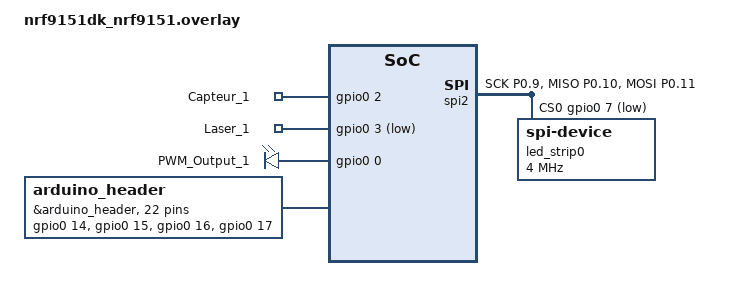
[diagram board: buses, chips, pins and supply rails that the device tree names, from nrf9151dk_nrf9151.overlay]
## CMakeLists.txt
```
cmake_minimum_required(VERSION 3.20.0)
find_package(Zephyr REQUIRED HINTS $ENV{ZEPHYR_BASE})

project(Programme_Capteur)

target_sources(app PRIVATE src/main.c)
```

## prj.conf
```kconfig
CONFIG_GPIO=y
CONFIG_GPIO_ENABLE_DISABLE_INTERRUPT=y

CONFIG_SPI=y
CONFIG_SPI_BITBANG=y


CONFIG_PWM=y

CONFIG_LOG=y
CONFIG_LOG_DEFAULT_LEVEL=3
CONFIG_LOG_PROCESS_THREAD_STACK_SIZE=4096
CONFIG_LOG_PROCESS_THREAD=y

CONFIG_USE_SEGGER_RTT=n
CONFIG_LOG_BACKEND_RTT=n
CONFIG_RTT_CONSOLE=y
CONFIG_CONSOLE=y
CONFIG_UART_CONSOLE=y
CONFIG_LOG_BACKEND_UART=y
```

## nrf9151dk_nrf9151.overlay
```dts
// To get started, press Ctrl+Space to bring up the completion menu and view the available nodes.

// You can also use the buttons in the sidebar to perform actions on nodes.
// Actions currently available include:

// * Enabling / disabling the node
// * Adding the bus to a bus
// * Removing the node
// * Connecting ADC channels

// For more help, browse the DeviceTree documentation at https://docs.zephyrproject.org/latest/guides/dts/index.html
// You can also visit the nRF DeviceTree extension documentation at https://docs.nordicsemi.com/bundle/nrf-connect-vscode/page/guides/ncs_configure_app.html#devicetree-support-in-the-extension

#include <zephyr/dt-bindings/led/led.h>


/{

    //added code//

    capteurs {
        compatible = "gpio-keys";

        capteur0: capteur_0 {
            
            gpios = <&gpio0 2 (GPIO_PULL_DOWN | GPIO_ACTIVE_HIGH)>;
            label = "Capteur_1";
        }; 
        status = "okay";

    };

    emetteurLaser {
        compatible = "gpio-keys";

        laser0: laser_0 {
            
            gpios = <&gpio0 3 GPIO_ACTIVE_LOW>;
            label = "Laser_1";
        }; 
        status = "okay";
    };
    

    // led_strip0: led_strip0 {
        
    //     compatible = "zephyr,spi-bitbang";
	// 	status="okay";
	// 	#address-cells = <1>;
	// 	#size-cells = <0>;
	// 	clk-gpios = <&gpio0 9 GPIO_ACTIVE_HIGH>;
	// 	mosi-gpios = <&gpio0 11 GPIO_ACTIVE_HIGH>;
	// 	miso-gpios = <&gpio0 10 GPIO_ACTIVE_HIGH>;
	// 	cs-gpios = <&gpio0 7 GPIO_ACTIVE_LOW>;
    // };


    pwmOutput{
        compatible = "gpio-leds";

        pwm_out0: pwm_output_0 {

        gpios = <&gpio0 0 GPIO_ACTIVE_HIGH>;
        label = "PWM_Output_1";

        };
        status = "okay";
        
    };

};

&spi2 {

    status = "okay";
    compatible = "nordic,nrf-spim";

    cs-gpios = <&gpio0 7 GPIO_ACTIVE_LOW>;
    pinctrl-0 = <&spi2_default>;
    pinctrl-1 = <&spi2_sleep>;
    pinctrl-names = "default","sleep";

    led_strip0: led_strip0@0 {
        compatible = "spi-device";

        status="okay";
        #address-cells = <1>;
        #size-cells = <0>;
        reg = <0>;
        spi-max-frequency = <4000000>;

    };


};

&pinctrl {

    spi2_default: spi2_default {
        group1 {
			psels = <NRF_PSEL(SPIM_SCK, 0, 9)>, <NRF_PSEL(SPIM_MISO, 0, 10)>;
			nordic,drive-mode = <NRF_DRIVE_H0H1>;
		};

        group2 {
            psels = <NRF_PSEL(SPIM_MOSI, 0, 11)>;
            nordic,drive-mode = <NRF_DRIVE_H0H1>;
            bias-pull-down;
        };
    };


    spi2_sleep: spi2_sleep {
        group1 {
            psels = <NRF_PSEL(SPIM_SCK, 0, 9)>,
                <NRF_PSEL(SPIM_MISO, 0, 10)>,
                <NRF_PSEL(SPIM_MOSI, 0, 11)>;
            low-power-enable;
        };
    };
};


&arduino_header {
    gpio-map = <0 0 &gpio0 14 0>,
               <1 0 &gpio0 15 0>,
               <2 0 &gpio0 16 0>,
               <3 0 &gpio0 17 0>,
               <4 0 &gpio0 18 0>,
               <5 0 &gpio0 19 0>,
               <6 0 &gpio0 0 0>,
               <7 0 &gpio0 1 0>,
               <8 0 &gpio0 2 0>,
               <9 0 &gpio0 3 0>,
               <10 0 &gpio0 4 0>,
               <11 0 &gpio0 5 0>,
               <12 0 &gpio0 6 0>,
               <13 0 &gpio0 7 0>,
               <14 0 &gpio0 8 0>,
               <15 0 &gpio0 9 0>,
               <16 0 &gpio0 10 0>,
               <17 0 &gpio0 11 0>,
               <18 0 &gpio0 12 0>,
               <19 0 &gpio0 13 0>,
               <20 0 &gpio0 30 0>,
               <21 0 &gpio0 31 0>;
};


&pwm_led0 {
    pwms = <&pwm0 0 10000000 PWM_POLARITY_NORMAL>;
};
```

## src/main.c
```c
#include <zephyr/kernel.h>
#include <zephyr/devicetree.h>
#include <zephyr/drivers/gpio.h>
#include <zephyr/drivers/led.h>
#include <zephyr/drivers/pwm.h>
#include <zephyr/drivers/spi.h>

#include <zephyr/logging/log.h>

#include "../../Lib/NEC/NEC.h"

// ---

//Node Definition From Devicetree
#define PWM_NODE DT_NODELABEL(pwm_led0) 
#define LED1_NODE DT_ALIAS(led1)
#define LED2_NODE DT_ALIAS(led2)
#define LED3_NODE DT_ALIAS(led3)

#define PWM0_OUT_NODE DT_NODELABEL(pwm_out0)

#define IR_REICV_NODE DT_NODELABEL(capteur0)
#define LASER_EMIT_NODE DT_NODELABEL(laser0)

#define SW2_NODE DT_ALIAS(sw3)

//SPI ports: SCK:13 MISO:12 MOSI:11
#define STRIP_NODE DT_NODELABEL(spi2)

// ---

//local const
#define REICV_STACK_SIZE 1024
#define EMIT_STACK_SIZE 1024

// ---

//initialize logger
LOG_MODULE_REGISTER(main, LOG_LEVEL_DBG);

// ---

    //initialize workqueues
    struct k_work_q reicv_work_q;
    struct k_work_q emit_work_q;
    K_THREAD_STACK_DEFINE(reicv_stack_area, REICV_STACK_SIZE);
    K_THREAD_STACK_DEFINE(emit_stack_area, EMIT_STACK_SIZE);

//---

//GPIO configurations from devicetree NODE
static const struct pwm_dt_spec irmitterPWM_dt = PWM_DT_SPEC_GET(PWM_NODE); 
static const struct gpio_dt_spec led1 = GPIO_DT_SPEC_GET(LED1_NODE, gpios);
static const struct gpio_dt_spec led2 = GPIO_DT_SPEC_GET(LED2_NODE, gpios);
static const struct gpio_dt_spec led3 = GPIO_DT_SPEC_GET(LED3_NODE, gpios);

static const struct gpio_dt_spec pwmOut0 = GPIO_DT_SPEC_GET(PWM0_OUT_NODE, gpios);
static const struct gpio_dt_spec irecv = GPIO_DT_SPEC_GET(IR_REICV_NODE, gpios);

static const struct gpio_dt_spec lasmitter = GPIO_DT_SPEC_GET(LASER_EMIT_NODE, gpios);

static const struct gpio_dt_spec switch2 = GPIO_DT_SPEC_GET(SW2_NODE, gpios);



// ---

//initialisation des works
struct k_work lR_IR_Work;
struct k_work emitIR_Work;

struct k_work_delayable lR_IR_DelayableWork;
struct k_work_delayable emitIR_DelayableWork;

// ---

//Paramètres recepteur (1)
irparams_t irParams = { .recvState = STATE_IDLE, .timer = 0, .rawlen = 0 };
decoded_result_t decodedResult = { .value = 0, .bits = 0 };

//init data to send
unsigned long dataToSend = 0x00000000;

//init callback de l'interruption de la gachette
static struct gpio_callback switch2_cb_data;


// ---

// ISR that detect when the trigger (button) is pressed
void trigger_pulled(const struct device *dev, struct gpio_callback *cb, uint32_t pins)
{
    LOG_DBG("Switch 2 Pressed");
    k_work_schedule_for_queue(&emit_work_q,&emitIR_DelayableWork, K_MSEC(10));
}

// workhandler that call the listening routine to get raw IR signals
static void lR_IR_WorkHandler(struct k_work *work)
{
    uint8_t rawSignal = gpio_pin_get_dt(&irecv);
    
    lR_IR_Receive(&irParams, rawSignal);

    k_work_reschedule_for_queue(&reicv_work_q,&lR_IR_DelayableWork, K_USEC(TICK_LENGHT));
}

// workhandler that emit IR signals after the trigger was pulled
static void emitIR_WorkHandler(struct k_work *work)
{

    gpio_pin_toggle_dt(&led2);
    dataToSend = 0xABCDEF12; 
    
    while(gpio_pin_get_dt(&switch2) == 1){


        gpio_pin_set_dt(&lasmitter, 1); //turn on laser
        sendNEC(dataToSend); //example data to send
        //LOG_DBG("TIR");
        gpio_pin_set_dt(&lasmitter, 0); //turn on laser

        k_sleep(K_MSEC(100)); //cooldown
    }

    gpio_pin_toggle_dt(&led2);

    //k_work_schedule_for_queue(&emit_work_q,&emitIR_DelayableWork, K_MSEC(500));
}

// --- 

void write_RGB_Strip_LEDs(const struct device *dev, struct spi_cs_control *cs, uint8_t* RGB_data, int num_leds){
    struct spi_config config;

    //frequency is 4MHz, it is more than necessary, so we will send 11110 for 1 and 10000 for 0, to follow protocol as described in the SK6812 datasheet
    //It turns byte into 4 times the size (uint32 per byte)
    config.frequency = 4000000;
    config.operation = SPI_OP_MODE_MASTER | SPI_WORD_SET(8) | SPI_TRANSFER_MSB;
    config.slave = 0;
    config.cs = *cs;

    uint64_t converted_data;
    uint64_t uint64_buff[3]; //each LED requires 3 uint32 (G,R,B)

    for(int i = 0; i < num_leds; i++){
        // Each LED requires uint32 bytes (G, R, B)
        // Data is expected in GRB format
        // Assuming RGB_data is an array of size 3
        for(int j = 0; j < 3; j++){
            converted_data = 0;
            for(int k =0; k < 8; k++){
                //MSB first
                if(RGB_data[j] & (1 << (8-i)) ){
                    //it's a "1"
                    converted_data =(converted_data << 1) | 1; // append 1
                    converted_data =(converted_data << 1) | 1; // append 1
                    converted_data =(converted_data << 1) | 1; // append 1
                    converted_data =(converted_data << 1) | 1; // append 1
                    converted_data =(converted_data << 1) ; // append 0
                }
                else{
                    //it's a "0"
                    converted_data =(converted_data << 1) | 1; // append 1
                    converted_data =(converted_data << 1) ; // append 0
                    converted_data =(converted_data << 1) ; // append 0
                    converted_data =(converted_data << 1) ; // append 0
                    converted_data =(converted_data << 1) ; // append 0

                }
            }
            uint64_buff[j] = converted_data;
            //LOG_DBG("Converted data : %llu", converted_data);
        }

        uint8_t buff[15]; //5 octets par couleurs 

        for(int m =0; m <3; m++){
            //on redivise ce qu'on doit envoyer en octet pour le SPI (et pour éviter d'envoyer des données en trop)+
            for(int n =0; n <5; n++){
                buff[m*5 + n] = (uint64_buff[m] >> (32 - 8*(n+1) ) ) & 0xFF; //extract each byte from the uint32
            }
            
        }

        //uint8_t buff[3] = { 0xAC, 0xAD, 0xAE };
        int len = 15*sizeof(buff[0]);

        struct spi_buf tx_buf = { .buf = buff, .len = len };
        struct spi_buf_set tx_bufs = { .buffers = &tx_buf, .count = 1 };
        int ret = spi_write(dev, &config, &tx_bufs);
        if (ret != 0) {
            LOG_ERR("SPI write failed: %d", ret);
        }

    }

    
}

// ---

//turns on the PWM for "duration" microseconds
void sendPulse(int duration){
    pwm_set_dt(&irmitterPWM_dt, PWM_USEC(28), PWM_USEC(9)); //set duty cycle to 25% 38kHz/4 = 9500Hz
    k_sleep(K_USEC(duration));  
}

//turns off the PWM for "duration" microseconds
void sendSpace(int duration){
    pwm_set_dt(&irmitterPWM_dt, 0, 0); //turn off PWM
    k_sleep(K_USEC(duration));
}

// -----


int main(void)
{

    k_work_queue_init(&reicv_work_q);
    k_work_queue_start(&reicv_work_q, reicv_stack_area, K_THREAD_STACK_SIZEOF(reicv_stack_area) , 4, NULL);

    k_work_queue_init(&emit_work_q);
    k_work_queue_start(&emit_work_q, emit_stack_area, K_THREAD_STACK_SIZEOF(emit_stack_area) , 5, NULL);

    LOG_DBG("Main Started");

    gpio_pin_configure_dt(&led1, GPIO_OUTPUT_INACTIVE);
    gpio_pin_configure_dt(&led2, GPIO_OUTPUT_INACTIVE);
    gpio_pin_configure_dt(&led3, GPIO_OUTPUT_INACTIVE);

    gpio_pin_configure_dt(&pwmOut0, GPIO_OUTPUT_INACTIVE);
    gpio_pin_configure_dt(&irecv, GPIO_INPUT);

    gpio_pin_configure_dt(&lasmitter, GPIO_OUTPUT_INACTIVE);
    
    gpio_pin_configure_dt(&switch2, GPIO_INPUT);
    

    int val;
    int val2;   
    
    
    k_work_init_delayable(&lR_IR_DelayableWork, lR_IR_WorkHandler);
    k_work_schedule_for_queue(&reicv_work_q,&lR_IR_DelayableWork, K_USEC(10));

    k_work_init_delayable(&emitIR_DelayableWork, emitIR_WorkHandler);

    gpio_pin_interrupt_configure_dt(&switch2, GPIO_INT_EDGE_TO_ACTIVE);
    gpio_init_callback(&switch2_cb_data, trigger_pulled, BIT(switch2.pin));
    gpio_add_callback(switch2.port, &switch2_cb_data);

    //RGB_LEDs
    const struct device *const dev = DEVICE_DT_GET(STRIP_NODE);
    struct spi_cs_control cs_ctrl = (struct spi_cs_control){.gpio = GPIO_DT_SPEC_GET(STRIP_NODE, cs_gpios), .delay = 0u,};

    uint8_t RGB_to_send[] = {0xFF, 0x00, 0xFF}; // carefull the format is Green Red Blue

    while(1){

        
        write_RGB_Strip_LEDs(dev, &cs_ctrl, RGB_to_send , 2); //cyan


        val = gpio_pin_get_dt(&irecv);
        gpio_pin_set_dt(&led1, val); 

        val2 =  gpio_pin_get_dt(&pwmOut0);
            
        int res = decodeNEC(&irParams, &decodedResult);

        if(res == 0){
            LOG_DBG("Decoded Result: 0x%08X, bits: %d, res: %d \n", decodedResult.value, decodedResult.bits, res);  
   
        }
        else if (res == 2)
        {
            //LOG_DBG("Error Detected : Invalid BIT \n");
            

        }

        k_sleep(K_MSEC(500));
        
    } 
    
    return 0;
}
```
